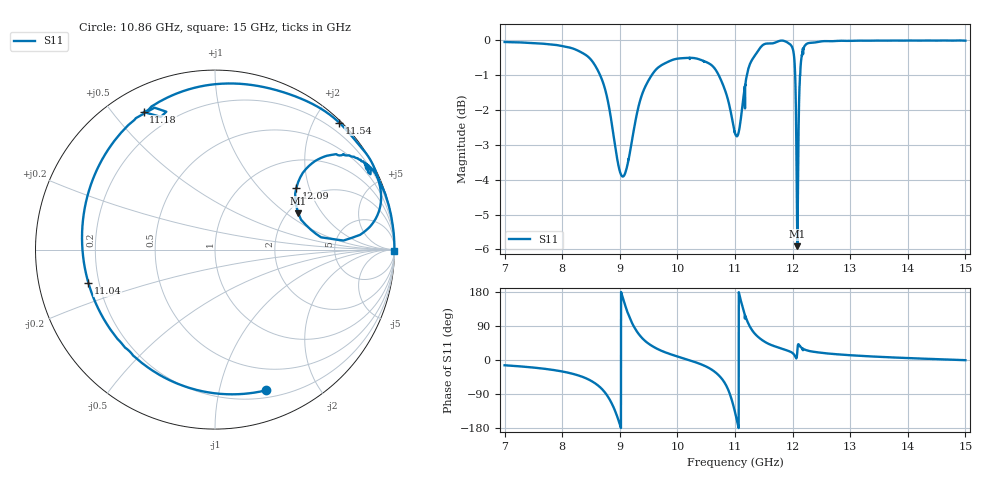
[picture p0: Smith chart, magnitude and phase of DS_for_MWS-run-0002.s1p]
! TOUCHSTONE file generated by CST DESIGN STUDIO
! Date and time: Mon Feb 10 16:52:16 2025
! Project name: C:\Work\MatlabApps\UnitCellType2OptimizationMatlab\CST\unitcell.cst
! Tree item: Tasks\Sweep1\SPara1\S-Parameters
! Header version: 2024
! Port assignment regex: !\s*Touchstone port\s*([0-9]+)\s*=\s*(CST MWS port|CST DES external port|CST DES block port)\s*(.+)\s* \(\"(.*)\"\)(\s*mode\s*([0-9]+))?.*
! Touchstone port assignment:
! Touchstone port 1 = CST DES external port 1 ("")
# GHz S MA R 50
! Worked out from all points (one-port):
!   4001 points, 7 GHz to 15 GHz, reference 50 ohm
!   lowest |S11| = -5.9 dB at 12.08 GHz (marker M1), VSWR 3.05, Z = 113 + j61.8 ohm
!   |S11| at or under -10 dB: nowhere
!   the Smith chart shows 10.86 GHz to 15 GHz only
!   S11 on the Smith chart (normalised r, x): 10.86 GHz: 0.27, -1.39; 11.04 GHz: 0.16, -0.13; 11.18 GHz: 0.10, +0.60; 11.54 GHz: 0.03, +2.38; 12.09 GHz: 1.61, +1.65; 15 GHz: open
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7  0.9949 -13.9
8  0.9817 -30.3
8.452  0.9472 -51.0
8.742  0.8526 -85.7
8.874  0.7471 -119.0
9  0.649 -169.7
9.138  0.6665 124.0
9.272  0.7666 81.1
9.55  0.8906 38.0
10  0.9416 9.3
10.584  0.9228 -24.3
10.74  0.8836 -43.9
10.856  0.8343 -69.9
10.934  0.7837 -100.4
11  0.7368 -137.6
11.042  0.7293 -165.1
11.104  0.7749 155.1
11.176  0.8639 117.5
11.334  0.9485 71.2
11.544  0.9897 45.6
12  0.9746 18.3
12.082  0.5065 23.6
12.09  0.5701 37.3
12.136  0.9147 35.0
12.262  0.9905 24.8
13  0.9987 12.6
14  0.9998 5.1
15  0.9994 -0.5
